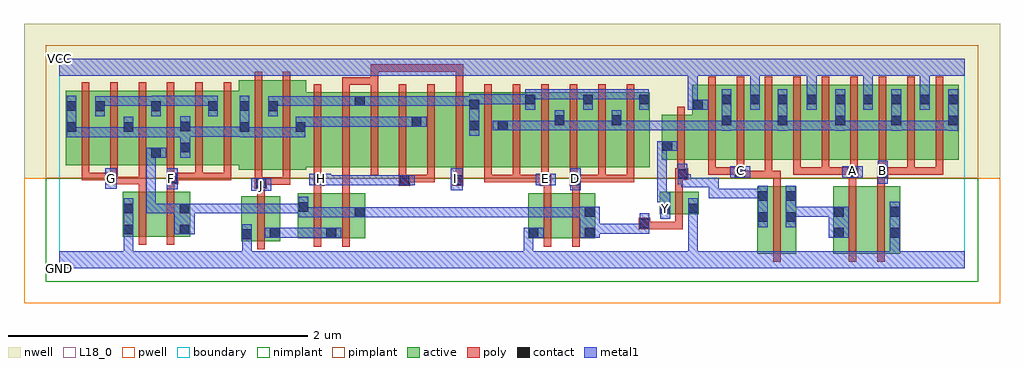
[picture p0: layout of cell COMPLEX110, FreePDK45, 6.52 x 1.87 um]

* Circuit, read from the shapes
.subckt COMPLEX110 A B C D E F G GND H I J VCC Y
M1 n1 G GND VSUBS nfet w=0.3u l=0.05u
M2 n2 F n1 VSUBS nfet w=0.3u l=0.05u
M3 n3 J GND VSUBS nfet w=0.3u l=0.05u
M4 n3 H n2 VSUBS nfet w=0.3u l=0.05u
M5 n2 I n3 VSUBS nfet w=0.3u l=0.05u
M6 n4 E GND VSUBS nfet w=0.3u l=0.05u
M7 n2 D n4 VSUBS nfet w=0.3u l=0.05u
M8 GND n2 Y VSUBS nfet w=0.15u l=0.05u
M9 n5 C n2 VSUBS nfet w=0.45u l=0.05u
M10 n6 A n5 VSUBS nfet w=0.45u l=0.05u
M11 GND B n6 VSUBS nfet w=0.45u l=0.05u
M12 n2 G n7 n8 pfet w=0.5u l=0.05u m=3
M13 n7 F n2 n8 pfet w=0.5u l=0.05u m=3
M14 n9 J n7 n8 pfet w=0.6u l=0.05u m=2
M15 n10 H n7 n8 pfet w=0.5u l=0.05u
M16 n9 I n10 n8 pfet w=0.5u l=0.05u
M17 n11 I n9 n8 pfet w=0.5u l=0.05u
M18 n7 H n11 n8 pfet w=0.5u l=0.05u
M19 n12 H n7 n8 pfet w=0.5u l=0.05u
M20 n9 I n12 n8 pfet w=0.5u l=0.05u
M21 n13 E n9 n8 pfet w=0.5u l=0.05u m=3
M22 n9 D n13 n8 pfet w=0.5u l=0.05u m=3
M23 VCC n2 Y n8 pfet w=0.3u l=0.05u
M24 n13 C VCC n8 pfet w=0.5u l=0.05u m=3
M25 VCC A n13 n8 pfet w=0.5u l=0.05u m=3
M26 n13 B VCC n8 pfet w=0.5u l=0.05u m=3
.ends

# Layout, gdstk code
import gdstk
lib = gdstk.Library(unit=1e-6, precision=1e-09)
def R(c, l, rs):  # rectangles x0, y0, x1, y1
    for r in rs: c.add(gdstk.rectangle(r[:2], r[2:], *l))
def A(c, l, x, y, w, h, nx, ny, dx, dy):  # array of equal rectangles
    R(c, l, [(x+i*dx, y+j*dy, x+i*dx+w, y+j*dy+h) for i in range(nx) for j in range(ny)])
active = (1, 0)
pwell = (2, 0)
nwell = (3, 0)
nimplant = (4, 0)
pimplant = (5, 0)
poly = (9, 0)
contact = (10, 0)
metal1 = (11, 0)
L18_0 = (18, 0)
boundary = (235, 0)

complex110 = lib.new_cell('COMPLEX110')
A(complex110, active, 2.925, 0.675, 0.075, 0.395, 3, 1, 0.38, 0)
A(complex110, active, 5.365, 0.725, 0.265, 0.5, 3, 1, 0.19, 0)
R(complex110, active, [(4.665,0.097,4.74,0.547), (4.665,0.097,4.925,0.547), (4.85,0.097,4.925,0.547), (5.17,0.097,5.395,0.547), (5.17,0.097,5.275,0.547), (5.395,0.097,5.62,0.547), (5.545,0.097,5.62,0.547), (1.217,0.182,1.292,0.482), (1.217,0.182,1.477,0.482), (1.402,0.2,1.477,0.482), (1.595,0.2,1.855,0.5), (1.78,0.2,2.045,0.5), (1.78,0.2,1.855,0.392), (1.97,0.2,2.045,0.5), (3.132,0.2,3.207,0.5), (3.132,0.2,3.357,0.5), (3.357,0.2,3.582,0.5), (3.507,0.2,3.582,0.5), (0.425,0.212,0.5,0.512), (0.425,0.212,0.65,0.512), (0.65,0.212,0.875,0.512), (0.8,0.212,0.875,0.512), (1.595,0.247,1.67,0.5), (4.012,0.362,4.087,0.512), (4.012,0.362,4.272,0.512), (4.197,0.362,4.272,0.512), (1.2,0.657,1.465,1.257), (1.39,0.657,1.65,1.257), (1.575,0.675,1.82,1.175), (1.82,0.675,2.045,1.175), (1.97,0.675,2.2,1.175), (2.2,0.675,2.425,1.175), (2.35,0.675,2.425,1.07), (2.35,0.675,2.58,1.175), (2.58,0.675,2.81,1.175), (2.735,0.675,3,1.175), (2.735,0.675,2.81,1.157), (2.925,0.675,3.185,1.175), (3.11,0.675,3.38,1.175), (3.305,0.675,3.57,1.175), (3.495,0.675,3.76,1.175), (3.685,0.675,3.945,1.175), (0.045,0.687,0.31,1.187), (0.045,0.687,0.12,1.165), (0.235,0.687,0.5,1.187), (0.235,0.687,0.31,1.157), (0.425,0.687,0.685,1.187), (0.425,0.687,0.5,1.07), (0.61,0.687,0.88,1.187), (0.61,0.687,0.685,1.157), (0.805,0.687,1.065,1.187), (0.805,0.687,0.88,1.07), (0.99,0.687,1.275,1.187), (0.99,0.687,1.065,1.157), (3.11,0.702,3.185,1.165), (3.495,0.702,3.57,1.175), (1.39,0.707,1.465,1.2), (1.97,0.72,2.045,1.157), (4.025,0.725,4.305,1.025), (4.23,0.725,4.495,1.225), (4.42,0.725,4.495,1.2), (4.42,0.725,4.685,1.225), (4.61,0.725,4.685,1.225), (4.61,0.725,4.87,1.225), (4.795,0.725,4.87,1.2), (4.795,0.725,5.065,1.225), (4.99,0.725,5.255,1.225), (4.99,0.725,5.065,1.225), (5.18,0.725,5.255,1.2), (5.18,0.725,5.44,1.225), (5.555,0.725,5.63,1.2), (5.745,0.725,5.82,1.225), (5.935,0.725,6.01,1.2), (4.025,0.78,4.1,0.94), (1.2,0.807,1.275,1.2), (1.575,0.807,1.65,1.07), (3.87,0.807,3.945,1.175), (5.365,0.807,5.44,1.225), (4.23,0.865,4.305,1.13)])
R(complex110, pwell, [(-0.235,-0.235,6.285,0.602)])
R(complex110, nwell, [(-0.235,0.602,6.285,1.635)])
R(complex110, nimplant, [(-0.09,-0.09,6.14,0.602)])
R(complex110, pimplant, [(-0.09,0.602,6.14,1.49)])
A(complex110, poly, 2.27, 0.575, 0.05, 0.095, 9, 1, 0.19, 0)
A(complex110, poly, 0.72, 0.587, 0.05, 0.095, 3, 1, 0.19, 0)
A(complex110, poly, 1.7, 0.62, 0.05, 0.61, 12, 1, 0.19, 0)
A(complex110, poly, 4.905, 0.625, 0.05, 0.095, 6, 1, 0.19, 0)
A(complex110, poly, 0.15, 0.632, 0.05, 0.61, 6, 1, 0.19, 0)
A(complex110, poly, 4.335, 0.67, 0.05, 0.61, 9, 1, 0.19, 0)
R(complex110, poly, [(4.77,0.042,4.82,0.602), (5.275,0.042,5.325,0.602), (5.465,0.042,5.515,0.602), (1.322,0.127,1.372,0.537), (1.7,0.145,1.75,0.555), (1.89,0.145,1.94,0.555), (3.237,0.145,3.287,0.555), (3.427,0.145,3.477,0.555), (0.53,0.157,0.58,0.567), (0.72,0.157,0.77,0.567), (3.872,0.262,3.947,0.337), (3.897,0.262,3.947,0.312), (3.897,0.262,3.947,0.312), (3.897,0.262,3.947,0.312), (3.897,0.262,3.947,0.312), (3.897,0.262,4.167,0.312), (4.117,0.262,4.167,0.357), (4.117,0.262,4.167,0.312), (4.117,0.262,4.167,0.312), (4.117,0.262,4.167,0.312), (4.117,0.307,4.167,0.567), (1.322,0.487,1.372,0.582), (1.7,0.505,1.75,0.6), (1.89,0.505,1.94,0.6), (3.237,0.505,3.287,0.6), (3.427,0.505,3.477,0.6), (0.53,0.517,0.58,0.612), (0.72,0.517,0.77,0.612), (4.117,0.517,4.167,0.642), (1.305,0.532,1.387,0.607), (1.7,0.55,1.775,0.625), (1.89,0.55,1.94,0.6), (1.89,0.55,1.94,0.67), (2.27,0.55,2.345,0.625), (2.625,0.55,2.7,0.625), (3.212,0.55,3.287,0.625), (3.41,0.55,3.485,0.625), (4.77,0.552,4.82,0.65), (5.275,0.552,5.325,0.65), (5.465,0.552,5.515,0.65), (1.305,0.557,1.355,0.652), (1.337,0.557,1.387,0.607), (1.337,0.557,1.387,0.607), (1.337,0.557,1.545,0.607), (1.495,0.557,1.545,0.652), (1.495,0.557,1.545,0.607), (0.315,0.562,0.39,0.637), (0.34,0.562,0.58,0.612), (0.34,0.562,0.39,0.612), (0.34,0.562,0.39,0.612), (0.53,0.562,0.58,0.612), (0.53,0.562,0.58,0.682), (0.72,0.562,0.795,0.637), (1.7,0.575,1.75,0.67), (2.295,0.575,2.345,0.625), (2.295,0.575,2.345,0.625), (2.295,0.575,2.51,0.625), (2.46,0.575,2.51,0.625), (2.84,0.575,3.08,0.625), (2.84,0.575,2.89,0.625), (2.84,0.575,2.89,0.625), (2.84,0.575,2.89,0.625), (3.03,0.575,3.08,0.625), (3.03,0.575,3.262,0.625), (3.212,0.575,3.262,0.625), (3.212,0.575,3.262,0.625), (3.435,0.575,3.485,0.625), (3.435,0.575,3.485,0.625), (3.435,0.575,3.65,0.625), (3.6,0.575,3.84,0.625), (3.6,0.575,3.65,0.625), (3.6,0.575,3.65,0.625), (3.6,0.575,3.65,0.625), (3.79,0.575,3.84,0.625), (0.15,0.587,0.2,0.682), (0.15,0.587,0.2,0.637), (0.15,0.587,0.2,0.637), (0.15,0.587,0.2,0.637), (0.15,0.587,0.365,0.637), (0.34,0.587,0.39,0.682), (0.745,0.587,0.795,0.637), (0.745,0.587,0.795,0.637), (0.745,0.587,0.96,0.637), (0.91,0.587,1.15,0.637), (0.91,0.587,0.96,0.637), (0.91,0.587,0.96,0.637), (0.91,0.587,0.96,0.637), (1.1,0.587,1.15,0.637), (4.117,0.592,4.202,0.667), (4.512,0.6,4.587,0.675), (4.537,0.6,4.765,0.65), (4.715,0.6,4.765,0.65), (4.715,0.6,4.765,0.65), (4.715,0.6,4.765,0.72), (4.715,0.6,4.82,0.65), (5.262,0.6,5.337,0.675), (5.465,0.6,5.54,0.675), (1.305,0.602,1.355,1.312), (1.495,0.602,1.545,1.312), (4.13,0.617,4.18,0.72), (4.335,0.625,4.385,0.72), (4.335,0.625,4.385,0.675), (4.335,0.625,4.385,0.675), (4.335,0.625,4.385,0.675), (4.335,0.625,4.562,0.675), (4.525,0.625,4.575,0.72), (4.905,0.625,5.145,0.675), (4.905,0.625,4.955,0.675), (5.095,0.625,5.145,0.675), (5.095,0.625,5.145,0.675), (5.095,0.625,5.145,0.675), (5.095,0.625,5.312,0.675), (5.262,0.625,5.312,0.675), (5.262,0.625,5.312,0.675), (5.49,0.625,5.54,0.675), (5.49,0.625,5.54,0.675), (5.49,0.625,5.715,0.675), (5.665,0.625,5.905,0.675), (5.665,0.625,5.715,0.675), (5.665,0.625,5.715,0.675), (5.665,0.625,5.715,0.675), (5.855,0.625,5.905,0.675), (4.13,0.67,4.18,1.08), (1.89,1.18,1.94,1.275), (2.08,1.18,2.13,1.275), (2.65,1.18,2.7,1.362), (1.89,1.225,2.13,1.275), (1.89,1.225,1.94,1.275), (1.89,1.225,1.94,1.275), (1.89,1.225,1.94,1.275), (2.08,1.225,2.13,1.362), (2.08,1.312,2.13,1.362), (2.08,1.312,2.13,1.362), (2.08,1.312,2.377,1.362), (2.327,1.312,2.377,1.362), (2.327,1.312,2.377,1.362), (2.327,1.312,2.377,1.362), (2.327,1.312,2.53,1.362), (2.48,1.312,2.53,1.362), (2.48,1.312,2.53,1.362), (2.48,1.312,2.53,1.362), (2.48,1.312,2.7,1.362), (2.65,1.312,2.7,1.362)])
A(complex110, contact, 5.37, 1.095, 0.065, 0.065, 4, 1, 0.19, 0)
R(complex110, contact, [(1.222,0.195,1.287,0.26), (1.407,0.205,1.472,0.27), (1.785,0.205,1.85,0.27), (3.137,0.205,3.202,0.27), (3.512,0.205,3.577,0.27), (5.175,0.205,5.24,0.27), (5.55,0.205,5.615,0.27), (0.43,0.227,0.495,0.292), (0.805,0.227,0.87,0.292), (3.877,0.267,3.942,0.332), (4.67,0.31,4.735,0.375), (4.855,0.31,4.92,0.375), (1.975,0.342,2.04,0.407), (3.512,0.345,3.577,0.41), (5.175,0.345,5.24,0.41), (5.55,0.345,5.615,0.41), (0.43,0.367,0.495,0.432), (0.805,0.367,0.87,0.432), (4.017,0.367,4.082,0.432), (4.202,0.367,4.267,0.432), (1.6,0.377,1.665,0.442), (4.67,0.45,4.735,0.515), (4.855,0.45,4.92,0.515), (1.317,0.537,1.382,0.602), (1.705,0.555,1.77,0.62), (2.275,0.555,2.34,0.62), (2.63,0.555,2.695,0.62), (3.217,0.555,3.282,0.62), (3.415,0.555,3.48,0.62), (0.32,0.567,0.385,0.632), (0.725,0.567,0.79,0.632), (4.132,0.597,4.197,0.662), (4.517,0.605,4.582,0.67), (5.267,0.605,5.332,0.67), (5.47,0.605,5.535,0.67), (0.615,0.74,0.68,0.805), (0.81,0.775,0.875,0.84), (4.03,0.785,4.095,0.85), (0.05,0.912,0.115,0.977), (0.43,0.912,0.495,0.977), (1.205,0.912,1.27,0.977), (1.58,0.912,1.645,0.977), (0.81,0.915,0.875,0.98), (2.74,0.922,2.805,0.987), (2.93,0.922,2.995,0.987), (2.355,0.947,2.42,1.012), (4.425,0.955,4.49,1.02), (4.8,0.955,4.865,1.02), (5.185,0.955,5.25,1.02), (5.56,0.955,5.625,1.02), (5.94,0.955,6.005,1.02), (3.31,0.957,3.375,1.022), (3.69,0.957,3.755,1.022), (0.24,1.05,0.305,1.115), (0.615,1.05,0.68,1.115), (1.395,1.05,1.46,1.115), (0.05,1.052,0.115,1.117), (0.995,1.052,1.06,1.117), (1.205,1.052,1.27,1.117), (4.235,1.06,4.3,1.125), (2.74,1.062,2.805,1.127), (1.975,1.085,2.04,1.15), (3.115,1.095,3.18,1.16), (3.5,1.095,3.565,1.16), (3.875,1.095,3.94,1.16), (4.425,1.095,4.49,1.16), (4.615,1.095,4.68,1.16), (4.8,1.095,4.865,1.16), (4.995,1.095,5.06,1.16), (5.185,1.095,5.25,1.16)])
R(complex110, metal1, [(0,0,6.05,0.115), (0.43,0.05,0.495,0.115), (0.43,0.05,0.495,0.115), (0.43,0.05,0.495,0.257), (1.222,0.05,1.287,0.225), (3.102,0.05,3.167,0.115), (3.102,0.05,3.167,0.115), (3.102,0.05,3.167,0.27), (4.202,0.05,4.267,0.115), (4.202,0.05,4.267,0.115), (4.202,0.05,4.267,0.397), (5.55,0.05,5.615,0.235), (1.222,0.16,1.287,0.225), (1.222,0.16,1.287,0.225), (1.222,0.16,1.287,0.295), (5.55,0.17,5.615,0.445), (0.43,0.192,0.495,0.467), (1.372,0.205,1.507,0.27), (1.442,0.205,1.507,0.27), (1.442,0.205,1.507,0.27), (1.442,0.205,1.677,0.27), (1.612,0.205,1.677,0.27), (1.612,0.205,1.815,0.27), (1.75,0.205,1.815,0.27), (1.75,0.205,1.815,0.27), (1.75,0.205,1.885,0.27), (3.102,0.205,3.237,0.27), (3.477,0.205,3.612,0.41), (5.14,0.205,5.275,0.41), (0.77,0.227,0.905,0.432), (3.547,0.232,3.612,0.297), (3.547,0.232,3.612,0.297), (3.547,0.232,3.785,0.297), (3.72,0.232,3.785,0.297), (3.72,0.232,3.785,0.297), (3.72,0.232,3.785,0.297), (3.72,0.232,3.942,0.297), (3.877,0.232,3.942,0.367), (4.67,0.275,4.735,0.55), (4.855,0.275,4.92,0.55), (4.017,0.332,4.082,0.467), (4.202,0.332,4.267,0.397), (4.202,0.332,4.267,0.397), (4.202,0.332,4.267,0.467), (1.6,0.342,1.665,0.407), (1.6,0.342,1.665,0.407), (1.6,0.342,1.665,0.477), (1.6,0.342,1.817,0.407), (1.752,0.342,1.817,0.407), (1.752,0.342,2.005,0.407), (1.94,0.342,2.005,0.407), (1.94,0.342,2.005,0.407), (1.94,0.342,2.075,0.407), (2.01,0.342,2.167,0.407), (2.102,0.342,2.167,0.407), (2.102,0.342,2.212,0.407), (2.147,0.342,2.212,0.407), (2.147,0.342,2.385,0.407), (2.32,0.342,2.385,0.407), (2.32,0.342,2.385,0.407), (2.32,0.342,2.385,0.407), (2.32,0.342,2.522,0.407), (2.457,0.342,2.522,0.407), (2.457,0.342,2.522,0.407), (2.457,0.342,2.522,0.407), (2.457,0.342,2.682,0.407), (2.617,0.342,2.682,0.407), (2.617,0.342,2.682,0.407), (2.617,0.342,2.682,0.407), (2.617,0.342,2.942,0.407), (2.877,0.342,2.942,0.407), (2.877,0.342,2.942,0.407), (2.877,0.342,2.942,0.407), (2.877,0.342,3.1,0.407), (3.035,0.342,3.1,0.407), (3.035,0.342,3.237,0.407), (3.172,0.342,3.237,0.407), (3.172,0.342,3.237,0.407), (3.172,0.342,3.237,0.407), (3.172,0.342,3.375,0.407), (3.31,0.342,3.375,0.407), (3.31,0.342,3.375,0.407), (3.31,0.342,3.375,0.407), (3.31,0.342,3.542,0.407), (4.855,0.345,4.92,0.41), (4.855,0.345,4.92,0.41), (4.855,0.345,5.067,0.41), (5.002,0.345,5.067,0.41), (5.002,0.345,5.067,0.41), (5.002,0.345,5.067,0.41), (5.002,0.345,5.205,0.41), (0.58,0.367,0.645,0.432), (0.58,0.367,0.645,0.432), (0.58,0.367,0.645,0.432), (0.58,0.367,0.835,0.432), (0.58,0.367,0.645,0.805), (0.84,0.367,0.905,0.432), (0.84,0.367,0.905,0.432), (0.84,0.367,1.132,0.432), (1.067,0.367,1.132,0.432), (1.067,0.367,1.132,0.432), (1.067,0.367,1.132,0.432), (1.067,0.367,1.27,0.432), (1.205,0.367,1.27,0.432), (1.205,0.367,1.27,0.432), (1.205,0.367,1.27,0.432), (1.205,0.367,1.507,0.432), (1.442,0.367,1.507,0.432), (1.442,0.367,1.507,0.432), (1.442,0.367,1.507,0.432), (1.442,0.367,1.665,0.432), (4.017,0.402,4.082,0.505), (3.995,0.44,4.06,0.85), (3.995,0.44,4.082,0.505), (4.34,0.467,4.542,0.532), (4.34,0.467,4.405,0.605), (4.477,0.467,4.542,0.532), (4.477,0.467,4.542,0.532), (4.477,0.467,4.542,0.532), (4.477,0.467,4.735,0.532), (1.282,0.517,1.417,0.602), (2.617,0.52,2.695,0.667), (3.415,0.52,3.485,0.667), (0.717,0.527,0.792,0.667), (0.307,0.53,0.385,0.667), (4.155,0.54,4.22,0.605), (4.155,0.54,4.405,0.605), (4.155,0.54,4.22,0.627), (1.67,0.555,1.817,0.632), (1.752,0.555,1.817,0.62), (1.752,0.555,1.817,0.62), (1.752,0.555,1.955,0.62), (1.89,0.555,1.955,0.62), (1.89,0.555,1.955,0.62), (1.89,0.555,1.955,0.62), (1.89,0.555,2.167,0.62), (2.102,0.555,2.167,0.62), (2.102,0.555,2.212,0.62), (2.147,0.555,2.212,0.62), (2.147,0.555,2.305,0.62), (2.24,0.555,2.375,0.62), (3.182,0.555,3.317,0.632), (4.132,0.562,4.197,0.697), (4.132,0.562,4.22,0.627), (4.155,0.562,4.22,0.627), (5.467,0.565,5.535,0.717), (4.482,0.605,4.617,0.682), (5.232,0.605,5.367,0.682), (0.58,0.74,0.645,0.805), (0.58,0.74,0.645,0.805), (0.58,0.74,0.715,0.805), (0.81,0.74,0.875,1.015), (3.995,0.785,4.06,0.85), (3.995,0.785,4.06,0.85), (3.995,0.785,4.13,0.85), (0.05,0.877,0.115,1.152), (0.05,0.877,0.115,0.942), (0.05,0.877,0.115,0.942), (0.05,0.877,0.252,0.942), (0.187,0.877,0.495,0.942), (0.187,0.877,0.252,0.942), (0.187,0.877,0.252,0.942), (0.187,0.877,0.252,0.942), (0.43,0.877,0.495,0.942), (0.43,0.877,0.495,0.942), (0.43,0.877,0.495,1.012), (0.43,0.877,0.697,0.942), (0.632,0.877,0.697,0.942), (0.632,0.877,0.697,0.942), (0.632,0.877,0.697,0.942), (0.632,0.877,0.875,0.942), (1.205,0.877,1.27,1.152), (1.205,0.877,1.27,0.942), (1.205,0.877,1.27,0.942), (1.205,0.877,1.425,0.942), (1.36,0.877,1.425,0.942), (1.36,0.877,1.425,0.942), (1.36,0.877,1.425,0.942), (1.36,0.877,1.645,0.942), (1.58,0.877,1.645,1.012), (0.81,0.88,0.875,0.945), (0.81,0.88,0.875,0.945), (0.81,0.88,1.132,0.945), (1.067,0.88,1.132,0.945), (1.067,0.88,1.132,0.945), (1.067,0.88,1.132,0.945), (1.067,0.88,1.27,0.945), (2.74,0.887,2.805,1.162), (4.425,0.92,4.49,1.195), (4.8,0.92,4.865,1.195), (5.185,0.92,5.25,1.195), (5.56,0.92,5.625,1.195), (5.94,0.92,6.005,1.195), (2.895,0.922,3.03,0.987), (2.965,0.922,3.1,0.987), (3.035,0.922,3.1,0.987), (3.035,0.922,3.237,0.987), (3.172,0.922,3.237,0.987), (3.172,0.922,3.237,0.987), (3.172,0.922,3.237,0.987), (3.172,0.922,3.375,0.987), (3.31,0.922,3.375,0.987), (3.31,0.922,3.375,0.987), (3.31,0.922,3.375,1.057), (3.31,0.922,3.612,0.987), (3.547,0.922,3.612,0.987), (3.547,0.922,3.612,0.987), (3.547,0.922,3.612,0.987), (3.547,0.922,3.755,0.987), (3.69,0.922,3.755,1.057), (3.69,0.922,3.922,0.987), (3.857,0.922,3.922,0.987), (3.857,0.922,3.922,0.987), (3.857,0.922,3.922,0.987), (3.857,0.922,3.922,0.987), (3.857,0.922,3.922,0.987), (3.857,0.922,4.082,0.987), (4.017,0.922,4.082,0.987), (4.017,0.922,4.082,0.987), (4.017,0.922,4.082,0.987), (4.017,0.922,4.352,0.987), (4.287,0.922,4.352,0.987), (4.287,0.922,4.352,0.987), (4.287,0.922,4.352,0.987), (4.287,0.922,4.49,0.987), (4.425,0.922,4.542,0.987), (4.477,0.922,4.542,0.987), (4.477,0.922,4.68,0.987), (4.615,0.922,4.68,0.987), (4.615,0.922,4.68,0.987), (4.615,0.922,4.68,0.987), (4.615,0.922,4.865,0.987), (4.8,0.922,4.865,0.987), (4.8,0.922,4.865,0.987), (4.8,0.922,5.057,0.987), (4.992,0.922,5.057,0.987), (4.992,0.922,5.057,0.987), (4.992,0.922,5.057,0.987), (4.992,0.922,5.25,0.987), (5.185,0.922,5.25,0.987), (5.185,0.922,5.25,0.987), (5.185,0.922,5.477,0.987), (5.412,0.922,5.477,0.987), (5.412,0.922,5.477,0.987), (5.412,0.922,5.477,0.987), (5.412,0.922,5.625,0.987), (5.56,0.922,5.625,0.987), (5.56,0.922,5.625,0.987), (5.56,0.922,5.762,0.987), (5.697,0.922,6.005,0.987), (5.697,0.922,5.762,0.987), (5.697,0.922,5.762,0.987), (5.697,0.922,5.762,0.987), (1.58,0.947,1.645,1.012), (1.58,0.947,1.645,1.012), (1.58,0.947,1.817,1.012), (1.752,0.947,1.817,1.012), (1.752,0.947,2.03,1.012), (1.965,0.947,2.03,1.012), (1.965,0.947,2.03,1.012), (1.965,0.947,2.03,1.012), (1.965,0.947,2.167,1.012), (2.102,0.947,2.167,1.012), (2.102,0.947,2.212,1.012), (2.147,0.947,2.212,1.012), (2.147,0.947,2.385,1.012), (2.32,0.947,2.385,1.012), (2.32,0.947,2.385,1.012), (2.32,0.947,2.455,1.012), (0.24,1.015,0.305,1.15), (0.615,1.015,0.68,1.15), (1.395,1.015,1.46,1.15), (0.995,1.017,1.06,1.152), (3.115,1.06,3.18,1.195), (3.5,1.06,3.565,1.195), (3.875,1.06,3.94,1.195), (4.2,1.06,4.265,1.125), (4.2,1.06,4.265,1.125), (4.2,1.06,4.265,1.35), (4.2,1.06,4.335,1.125), (4.615,1.06,4.68,1.195), (4.995,1.06,5.06,1.195), (5.37,1.06,5.435,1.195), (5.75,1.06,5.815,1.195), (0.24,1.085,0.305,1.15), (0.24,1.085,0.305,1.15), (0.24,1.085,0.442,1.15), (0.377,1.085,0.442,1.15), (0.377,1.085,0.442,1.15), (0.377,1.085,0.442,1.15), (0.377,1.085,0.68,1.15), (0.615,1.085,0.68,1.15), (0.615,1.085,0.68,1.152), (1.395,1.085,1.46,1.15), (1.395,1.085,1.46,1.15), (1.395,1.085,1.677,1.15), (1.612,1.085,1.677,1.15), (1.612,1.085,1.677,1.15), (1.612,1.085,1.677,1.15), (1.612,1.085,1.817,1.15), (1.752,1.085,1.817,1.15), (1.752,1.085,2.005,1.15), (1.94,1.085,2.005,1.15), (1.94,1.085,2.005,1.15), (1.94,1.085,2.075,1.15), (2.01,1.085,2.167,1.15), (2.102,1.085,2.167,1.15), (2.102,1.085,2.212,1.15), (2.147,1.085,2.212,1.15), (2.147,1.085,2.35,1.15), (2.285,1.085,2.35,1.15), (2.285,1.085,2.35,1.15), (2.285,1.085,2.35,1.15), (2.285,1.085,2.545,1.15), (2.48,1.085,2.545,1.15), (2.48,1.085,2.545,1.15), (2.48,1.085,2.545,1.15), (2.48,1.085,2.805,1.15), (2.74,1.085,2.805,1.15), (2.74,1.085,2.805,1.15), (0.615,1.087,0.922,1.152), (0.857,1.087,0.922,1.152), (0.857,1.087,0.922,1.152), (0.857,1.087,0.922,1.152), (0.857,1.087,1.06,1.152), (2.74,1.097,2.962,1.162), (2.897,1.097,2.962,1.162), (2.897,1.097,2.962,1.162), (2.897,1.097,2.962,1.162), (2.897,1.097,3.1,1.162), (3.035,1.097,3.1,1.162), (3.035,1.097,3.18,1.162), (3.115,1.13,3.237,1.195), (3.172,1.13,3.237,1.195), (3.172,1.13,3.375,1.195), (3.31,1.13,3.375,1.195), (3.31,1.13,3.375,1.195), (3.31,1.13,3.375,1.195), (3.31,1.13,3.565,1.195), (3.5,1.13,3.565,1.195), (3.5,1.13,3.565,1.195), (3.5,1.13,3.75,1.195), (3.685,1.13,3.75,1.195), (3.685,1.13,3.75,1.195), (3.685,1.13,3.75,1.195), (3.685,1.13,3.94,1.195), (4.615,1.13,4.68,1.35), (4.995,1.13,5.06,1.35), (5.37,1.13,5.435,1.35), (5.75,1.13,5.815,1.195), (5.75,1.13,5.815,1.195), (5.75,1.13,5.815,1.35), (0,1.285,6.05,1.4), (4.615,1.285,4.68,1.35), (4.615,1.285,4.68,1.35), (4.995,1.285,5.06,1.35), (4.995,1.285,5.06,1.35), (5.37,1.285,5.435,1.35), (5.37,1.285,5.435,1.35)])
R(complex110, L18_0, [(0,0,6.05,0.115), (0.43,0.05,0.495,0.115), (0.43,0.05,0.495,0.115), (0.43,0.05,0.495,0.257), (1.222,0.05,1.287,0.225), (3.102,0.05,3.167,0.115), (3.102,0.05,3.167,0.115), (3.102,0.05,3.167,0.27), (4.202,0.05,4.267,0.115), (4.202,0.05,4.267,0.115), (4.202,0.05,4.267,0.397), (5.55,0.05,5.615,0.235), (1.222,0.16,1.287,0.225), (1.222,0.16,1.287,0.225), (1.222,0.16,1.287,0.295), (5.55,0.17,5.615,0.445), (0.43,0.192,0.495,0.467), (3.102,0.205,3.237,0.27), (4.017,0.332,4.082,0.467), (4.202,0.332,4.267,0.397), (4.202,0.332,4.267,0.397), (4.202,0.332,4.267,0.467), (4.017,0.367,4.082,0.432), (4.017,0.402,4.082,0.505), (3.995,0.44,4.082,0.505), (3.995,0.44,4.06,0.85), (1.282,0.517,1.417,0.602), (1.317,0.517,1.382,0.582), (2.617,0.52,2.695,0.667), (3.415,0.52,3.485,0.667), (0.717,0.527,0.792,0.667), (0.307,0.53,0.385,0.667), (1.67,0.555,1.817,0.632), (1.752,0.555,1.817,0.62), (1.752,0.555,1.817,0.62), (1.752,0.555,1.955,0.62), (1.89,0.555,1.955,0.62), (1.89,0.555,1.955,0.62), (1.89,0.555,1.955,0.62), (1.89,0.555,2.167,0.62), (2.102,0.555,2.167,0.62), (2.102,0.555,2.212,0.62), (2.147,0.555,2.212,0.62), (2.147,0.555,2.305,0.62), (2.24,0.555,2.375,0.62), (3.182,0.555,3.317,0.632), (5.467,0.565,5.535,0.717), (0.317,0.567,0.382,0.632), (0.717,0.567,0.782,0.632), (1.717,0.567,1.782,0.632), (2.617,0.567,2.682,0.632), (3.217,0.567,3.282,0.632), (3.417,0.567,3.482,0.632), (4.482,0.605,4.617,0.682), (5.232,0.605,5.367,0.682), (4.517,0.617,4.582,0.682), (5.267,0.617,5.332,0.682), (5.467,0.617,5.532,0.682), (3.995,0.785,4.06,0.85), (3.995,0.785,4.06,0.85), (3.995,0.785,4.13,0.85), (4.2,1.06,4.265,1.125), (4.2,1.06,4.265,1.125), (4.2,1.06,4.335,1.125), (4.2,1.06,4.265,1.35), (4.615,1.06,4.68,1.195), (4.995,1.06,5.06,1.195), (5.37,1.06,5.435,1.195), (5.75,1.06,5.815,1.195), (4.615,1.13,4.68,1.35), (4.995,1.13,5.06,1.35), (5.37,1.13,5.435,1.35), (5.75,1.13,5.815,1.195), (5.75,1.13,5.815,1.195), (5.75,1.13,5.815,1.35), (0,1.285,6.05,1.4), (4.615,1.285,4.68,1.35), (4.615,1.285,4.68,1.35), (4.995,1.285,5.06,1.35), (4.995,1.285,5.06,1.35), (5.37,1.285,5.435,1.35), (5.37,1.285,5.435,1.35)])
R(complex110, boundary, [(0,0,6.05,1.4)])
complex110.add(gdstk.Label('A', (5.3,0.65), layer=11, texttype=0))
complex110.add(gdstk.Label('B', (5.5,0.65), layer=11, texttype=0))
complex110.add(gdstk.Label('C', (4.55,0.65), layer=11, texttype=0))
complex110.add(gdstk.Label('D', (3.45,0.6), layer=11, texttype=0))
complex110.add(gdstk.Label('E', (3.25,0.6), layer=11, texttype=0))
complex110.add(gdstk.Label('F', (0.75,0.6), layer=11, texttype=0))
complex110.add(gdstk.Label('G', (0.35,0.6), layer=11, texttype=0))
complex110.add(gdstk.Label('H', (1.75,0.6), layer=11, texttype=0))
complex110.add(gdstk.Label('I', (2.65,0.6), layer=11, texttype=0))
complex110.add(gdstk.Label('J', (1.35,0.55), layer=11, texttype=0))
complex110.add(gdstk.Label('Y', (4.05,0.4), layer=11, texttype=0))
complex110.add(gdstk.Label('VCC', (0,1.4), layer=11, texttype=0))
complex110.add(gdstk.Label('GND', (0,0), layer=11, texttype=0))

lib.write_gds('COMPLEX110.gds')
